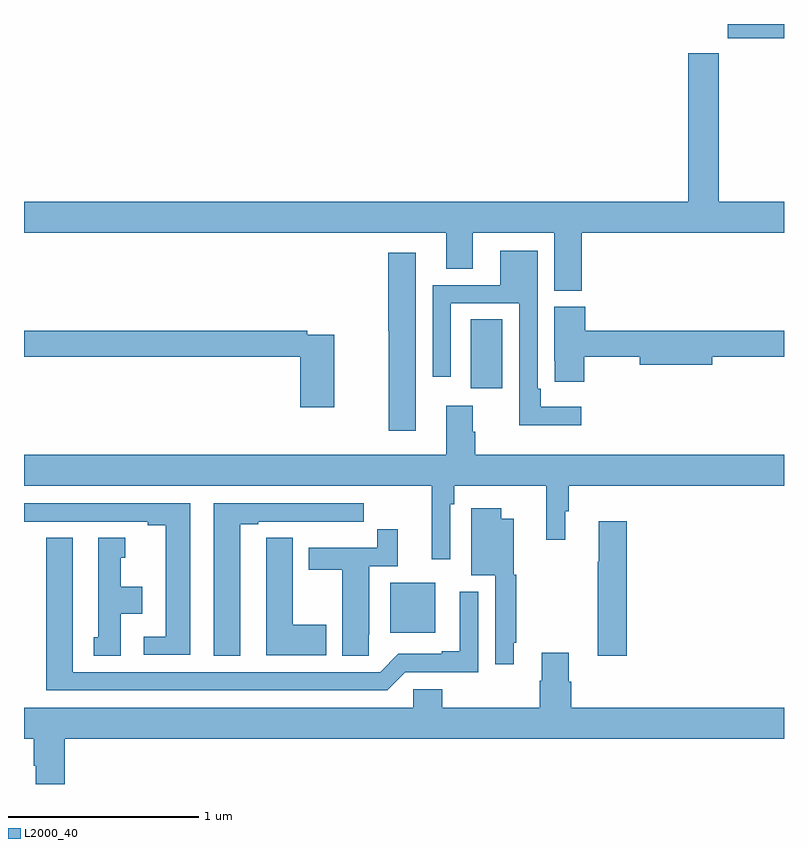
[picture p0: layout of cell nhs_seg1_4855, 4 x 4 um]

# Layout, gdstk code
import gdstk
lib = gdstk.Library(unit=1e-6, precision=1e-09)
def R(c, l, rs):  # rectangles x0, y0, x1, y1
    for r in rs: c.add(gdstk.rectangle(r[:2], r[2:], *l))
def P(c, l, *ps):  # polygons
    for p in ps: c.add(gdstk.Polygon(p, *l))
L2000_40 = (2000, 40)

nhs_seg1_4855 = lib.new_cell('nhs_seg1_4855')
R(nhs_seg1_4855, L2000_40, [(376.928,514.994,377.164,515.257), (377.351,516.282,377.518,516.644), (378.704,518.123,379,518.199)])
P(nhs_seg1_4855, L2000_40, [(377.936,517.1),(379,517.1),(379,517.264),(378.657,517.264),(378.657,518.044),(378.497,518.044),(378.497,517.264),(375,517.264),(375,517.1),(377.222,517.1),(377.222,516.91),(377.362,516.91),(377.362,517.1),(377.792,517.1),(377.792,516.796),(377.936,516.796)],
  [(377.932,516.184),(377.719,516.184),(377.719,516.28),(377.703,516.28),(377.703,517.006),(377.507,517.006),(377.507,516.825),(377.151,516.825),(377.151,516.342),(377.247,516.342),(377.247,516.729),(377.607,516.729),(377.607,516.086),(377.932,516.086)],
  [(377.062,516.996),(376.916,516.996),(376.916,516.584),(376.921,516.584),(376.921,516.057),(377.062,516.057)],
  [(377.949,516.448),(378.242,516.448),(378.242,516.406),(378.622,516.406),(378.622,516.448),(379,516.448),(379,516.584),(377.954,516.584),(377.954,516.711),(377.792,516.711),(377.792,516.427),(377.793,516.427),(377.793,516.315),(377.949,516.315)],
  [(376.632,516.564),(376.49,516.564),(376.49,516.584),(375,516.584),(375,516.448),(376.454,516.448),(376.454,516.183),(376.632,516.183)],
  [(377.244,515.672),(377.264,515.672),(377.264,515.768),(377.749,515.768),(377.749,515.484),(377.848,515.484),(377.848,515.634),(377.867,515.634),(377.867,515.768),(379,515.768),(379,515.932),(377.375,515.932),(377.375,516.053),(377.362,516.053),(377.362,516.19),(377.222,516.19),(377.222,515.932),(375,515.932),(375,515.768),(377.147,515.768),(377.147,515.382),(377.244,515.382)],
  [(376.138,515.565),(376.234,515.565),(376.234,515.58),(376.51,515.58),(376.51,515.579),(376.676,515.579),(376.676,515.58),(376.789,515.58),(376.789,515.676),(375.998,515.676),(375.998,514.873),(376.138,514.873)],
  [(375.874,515.676),(375,515.676),(375,515.58),(375.65,515.58),(375.65,515.56),(375.746,515.56),(375.746,514.974),(375.63,514.974),(375.63,514.878),(375.874,514.878)],
  [(377.578,514.942),(377.59,514.942),(377.59,515.301),(377.578,515.301),(377.578,515.596),(377.512,515.596),(377.512,515.65),(377.354,515.65),(377.354,515.297),(377.481,515.297),(377.481,514.83),(377.578,514.83)],
  [(378.173,515.581),(378.026,515.581),(378.026,515.368),(378.019,515.368),(378.019,514.875),(378.173,514.875)],
  [(376.815,514.984),(376.816,514.984),(376.816,515.346),(376.967,515.346),(376.967,515.539),(376.858,515.539),(376.858,515.442),(376.499,515.442),(376.499,515.326),(376.676,515.326),(376.676,514.873),(376.815,514.873)],
  [(376.591,515.037),(376.414,515.037),(376.414,515.495),(376.275,515.495),(376.275,515.387),(376.274,515.387),(376.274,514.877),(376.591,514.877)],
  [(375.508,515.096),(375.622,515.096),(375.622,515.236),(375.508,515.236),(375.508,515.391),(375.532,515.391),(375.532,515.494),(375.392,515.494),(375.392,514.971),(375.368,514.971),(375.368,514.873),(375.508,514.873)],
  [(377.007,514.788),(377.391,514.788),(377.391,515.212),(377.294,515.212),(377.294,514.897),(377.198,514.897),(377.198,514.884),(376.971,514.884),(376.875,514.788),(375.256,514.788),(375.256,515.494),(375.116,515.494),(375.116,514.692),(376.911,514.692)],
  [(375.215,514.436),(379,514.436),(379,514.6),(377.879,514.6),(377.879,514.737),(377.866,514.737),(377.866,514.891),(377.726,514.891),(377.726,514.742),(377.714,514.742),(377.714,514.6),(377.201,514.6),(377.201,514.698),(377.049,514.698),(377.049,514.6),(375,514.6),(375,514.436),(375.05,514.436),(375.05,514.294),(375.062,514.294),(375.062,514.199),(375.215,514.199)])

lib.write_gds('nhs_seg1_4855.gds')
